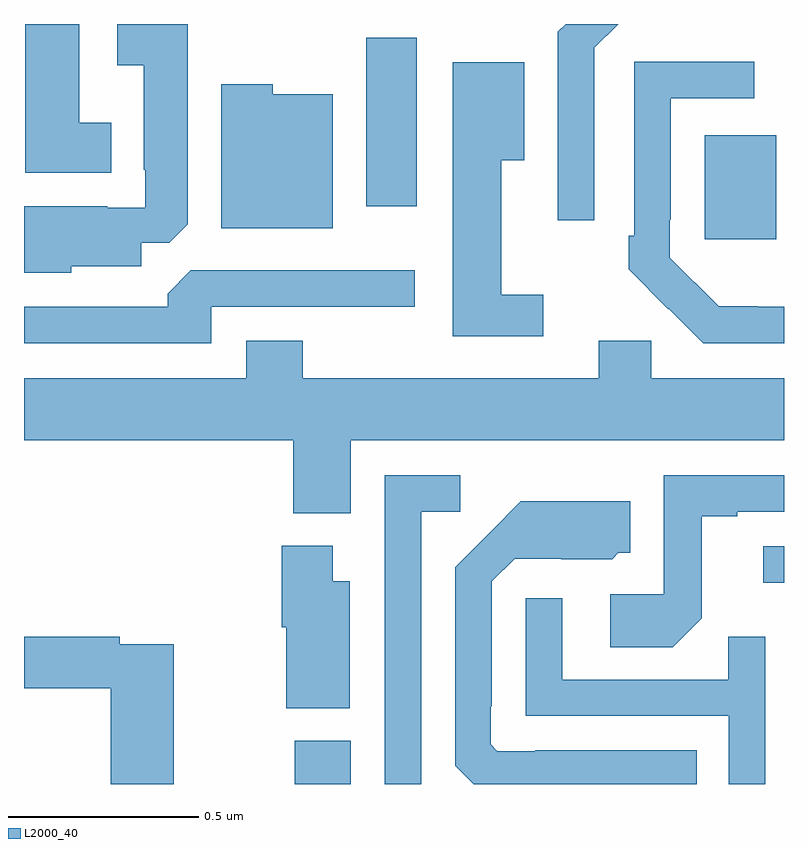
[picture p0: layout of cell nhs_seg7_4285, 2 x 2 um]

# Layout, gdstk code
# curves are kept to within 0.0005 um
import gdstk
lib = gdstk.Library(unit=1e-6, precision=1e-09)
def R(c, l, rs):  # rectangles x0, y0, x1, y1
    for r in rs: c.add(gdstk.rectangle(r[:2], r[2:], *l))
def P(c, l, *ps):  # polygons
    for p in ps: c.add(gdstk.Polygon(p, *l))
L2000_40 = (2000, 40)

nhs_seg7_4285 = lib.new_cell('nhs_seg7_4285')
R(nhs_seg7_4285, L2000_40, [(170.713,1045,170.86,1045.114), (171.945,1045.529,172,1045.626), (171.791,1046.433,171.979,1046.707), (170.9,1046.52,171.034,1046.964)])
P(nhs_seg7_4285, L2000_40, [(171.501,1046.937),(171.564,1047),(171.426,1047),(171.405,1046.979),(171.405,1046.484),(171.501,1046.484)],
  [(170.124,1046.363),(170.308,1046.363),(170.308,1046.424),(170.382,1046.424),(170.431,1046.473),(170.431,1047),(170.246,1047),(170.246,1046.891),(170.315,1046.891),(170.315,1046.617),(170.319,1046.617),(170.319,1046.517),(170.219,1046.517),(170.219,1046.521),(170,1046.521),(170,1046.345),(170.124,1046.345)],
  [(170.23,1046.74),(170.146,1046.74),(170.146,1047),(170.003,1047),(170.003,1046.609),(170.23,1046.609)],
  [(172,1046.256),(171.931,1046.256),(171.931,1046.257),(171.828,1046.257),(171.699,1046.385),(171.699,1046.485),(171.702,1046.485),(171.702,1046.805),(171.922,1046.805),(171.922,1046.901),(171.606,1046.901),(171.606,1046.443),(171.591,1046.443),(171.591,1046.355),(171.696,1046.25),(171.697,1046.251),(171.788,1046.16),(172,1046.16)],
  [(171.367,1046.287),(171.256,1046.287),(171.256,1046.642),(171.316,1046.642),(171.316,1046.899),(171.128,1046.899),(171.128,1046.178),(171.367,1046.178)],
  [(170.812,1046.815),(170.655,1046.815),(170.655,1046.842),(170.519,1046.842),(170.519,1046.462),(170.812,1046.462)],
  [(170.493,1046.256),(171.028,1046.256),(171.028,1046.352),(170.439,1046.352),(170.378,1046.29),(170.378,1046.256),(170,1046.256),(170,1046.16),(170.493,1046.16)],
  [(170.86,1045.904),(172,1045.904),(172,1046.068),(171.651,1046.068),(171.651,1046.166),(171.512,1046.166),(171.512,1046.068),(170.733,1046.068),(170.733,1046.167),(170.585,1046.167),(170.585,1046.068),(170,1046.068),(170,1045.904),(170.708,1045.904),(170.708,1045.712),(170.86,1045.712)],
  [(171.045,1045.716),(171.148,1045.716),(171.148,1045.812),(170.949,1045.812),(170.949,1045),(171.045,1045)],
  [(171.783,1045.436),(171.783,1045.704),(171.877,1045.704),(171.877,1045.716),(172,1045.716),(172,1045.812),(171.684,1045.812),(171.684,1045.5),(171.543,1045.5),(171.543,1045.36),(171.707,1045.36)],
  [(171.77,1045.089),(171.346,1045.089),(171.346,1045.086),(171.246,1045.086),(171.228,1045.104),(171.228,1045.204),(171.231,1045.204),(171.231,1045.533),(171.291,1045.593),(171.414,1045.593),(171.414,1045.592),(171.548,1045.592),(171.564,1045.608),(171.595,1045.608),(171.595,1045.744),(171.307,1045.744),(171.135,1045.57),(171.135,1045.048),(171.183,1045),(171.77,1045)],
  [(170.857,1045.534),(170.812,1045.534),(170.812,1045.627),(170.678,1045.627),(170.678,1045.413),(170.69,1045.413),(170.69,1045.199),(170.857,1045.199)],
  [(171.951,1045.388),(171.853,1045.388),(171.853,1045.275),(171.417,1045.275),(171.417,1045.489),(171.321,1045.489),(171.321,1045.179),(171.855,1045.179),(171.855,1045),(171.951,1045)],
  [(170.394,1045.368),(170.252,1045.368),(170.252,1045.388),(170,1045.388),(170,1045.252),(170.228,1045.252),(170.228,1045),(170.394,1045)])

lib.write_gds('nhs_seg7_4285.gds')
